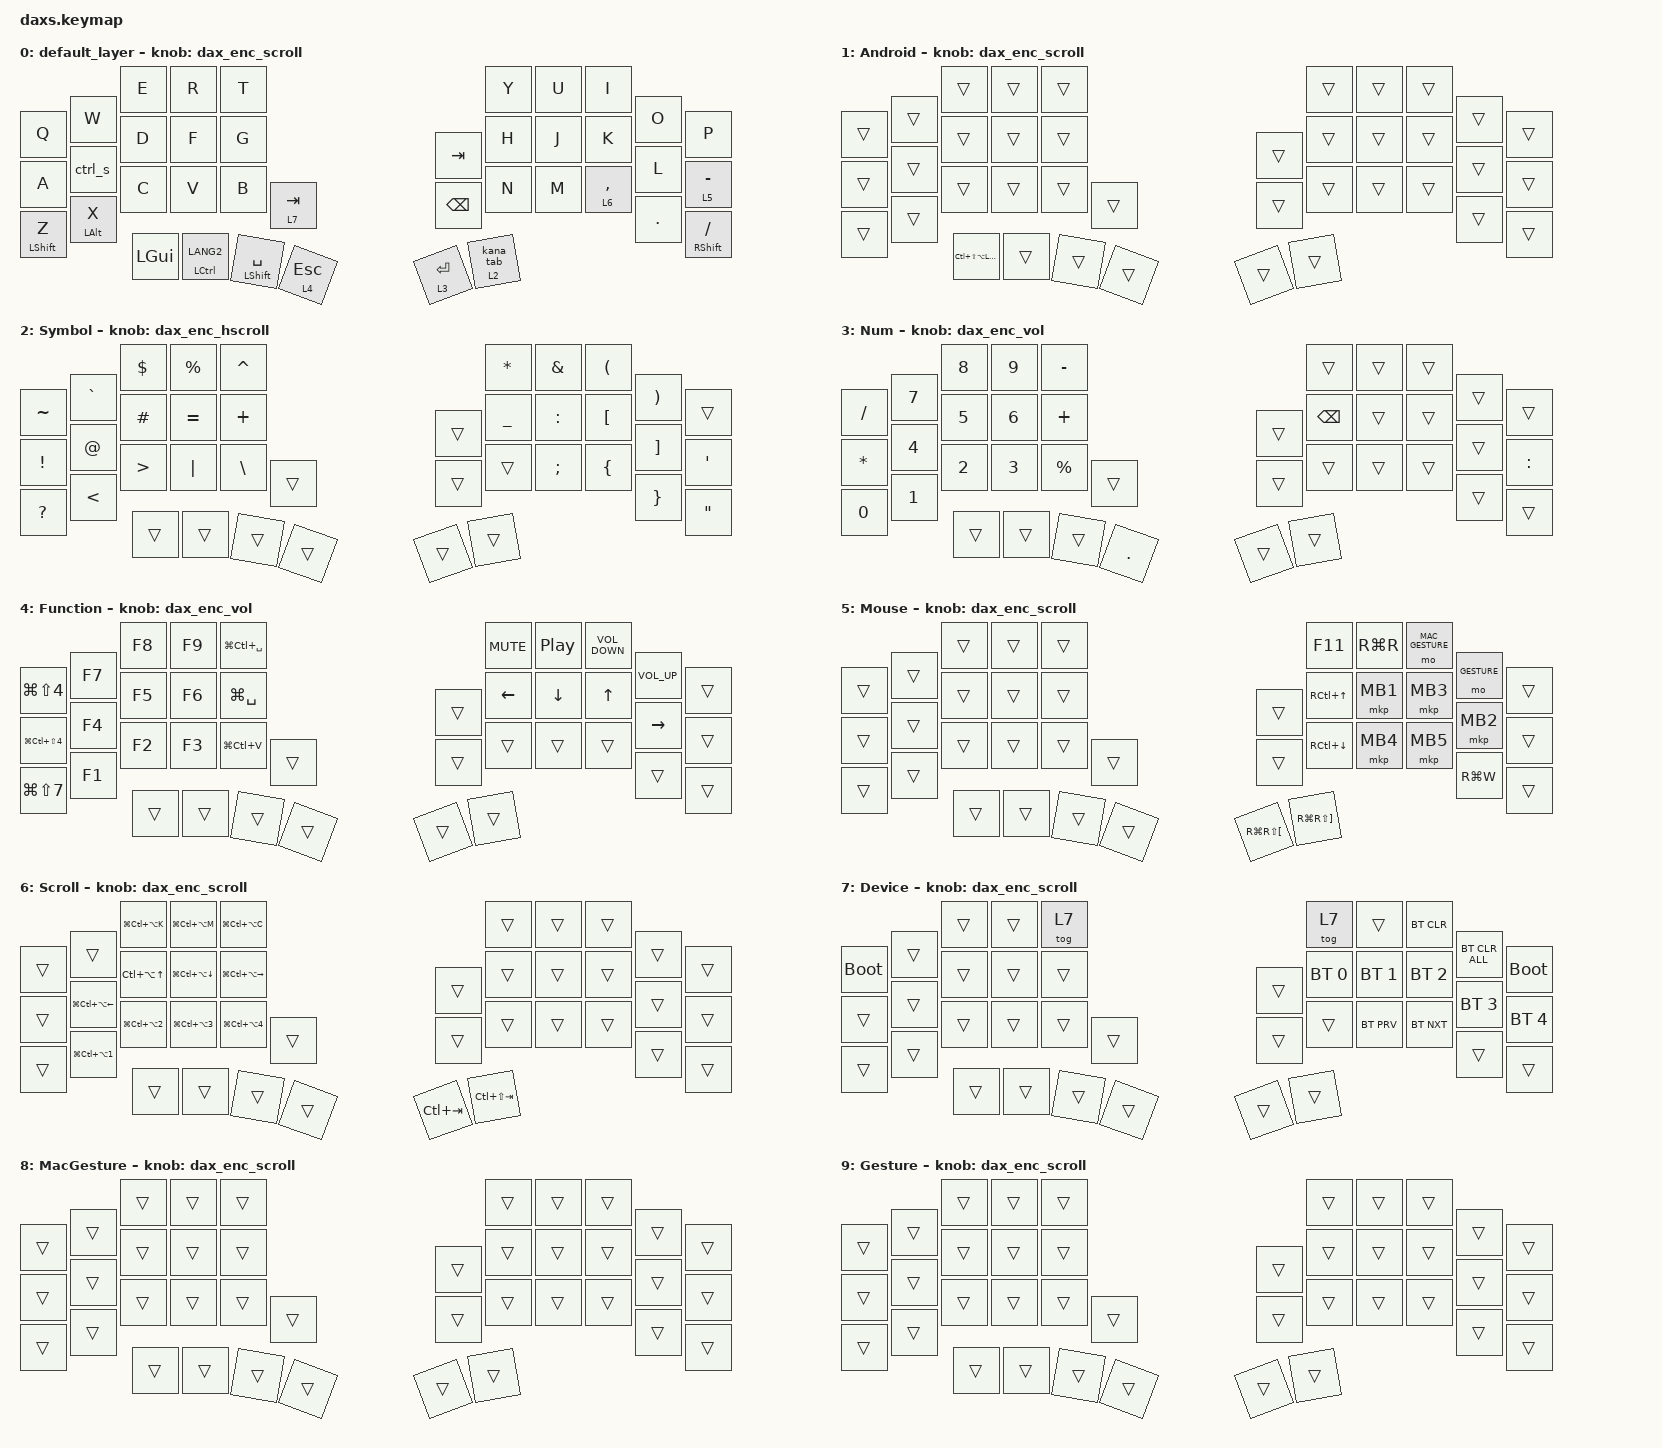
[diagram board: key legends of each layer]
#define ZMK_POINTING_DEFAULT_SCRL_VAL 120

#include <behaviors.dtsi>
#include <behaviors/dax_macro.dtsi>
#include <dt-bindings/zmk/bt.h>
#include <dt-bindings/zmk/input_transform.h>
#include <dt-bindings/zmk/keys.h>
#include <dt-bindings/zmk/pointing.h>
#include <input/processors.dtsi>
#include <dt-bindings/dax/gesture.h>

// Ctrl+Alt+Shift+Meta as a single modifier. The keycode itself is a modifier
// usage, so it lands in the HID modifier byte and a bare tap sends no character.
#define HYPER LC(LS(LA(LGUI)))

#define ANDROID 1
#define MOUSE 5
#define SCROLL 6
#define NUM 3
#define MAC_GESTURE 8
#define GESTURE 9

#include "gestures.dtsi"

// Encoder scroll reaches the host through &msc, which owns its own input-listener.
// The listener lives in behaviors.dtsi, which the shield overlay is parsed before,
// so the Android direction flip has to be declared here rather than in the overlay.
&msc_input_listener {
    android_encoder_override {
        layers = <ANDROID>;
        input-processors
            = <&zip_scroll_transform (INPUT_TRANSFORM_Y_INVERT)>
            , <&zip_scroll_scaler 3 5>
            ;
    };
};

&mt {
    quick-tap-ms = <0>;
    tapping-term-ms = <160>;
    flavor = "balanced";
};

&lt {
    flavor = "balanced";
    tapping-term-ms = <160>;
    quick-tap-ms = <0>;
};

// Key positions:
//
//    0  1  2  3  4              5  6  7  8  9
//   10 11 12 13 14         15  16 17 18 19 20
//   21 22 23 24 25  26     27  28 29 30 31 32
//         33 34 35 36      37 38
/ {
    // Compile-time defaults for the runtime combos (`dax_combo`). A slot edited or
    // deleted from a settings app keeps that stored value, and the layer filter
    // still looks at the highest active layer only, hence `<0 1>`.
    runtime_combo_defaults {
        compatible = "dax,runtime-combo-defaults";

        to_device {
            slot = <0>;
            bindings = <&mo 7>;
            key-positions = <0 25>;
            layers = <0 1>;
        };

        kl_scroll {
            slot = <1>;
            bindings = <&mo 6>;
            key-positions = <18 19>;
            layers = <0 1>;
        };

        to_device_left {
            slot = <2>;
            bindings = <&tog 7>;
            key-positions = <0 10 21>;
            layers = <0 1>;
        };

        to_device_right {
            slot = <3>;
            bindings = <&tog 7>;
            key-positions = <9 20 32>;
            layers = <0 1>;
        };

        tab {
            slot = <4>;
            bindings = <&kp TAB>;
            key-positions = <12 13>;
        };

        lclick {
            slot = <5>;
            bindings = <&mkp LCLK>;
            key-positions = <17 18>;
        };
    };

    // Compile-time defaults for the macros (`dax_macro`), each in a fixed slot. A slot
    // edited or deleted from a settings app keeps that stored value.
    // `esc_lang2_with_layer` passes the slot number of esc_lang2 as its tap parameter.
    runtime_macro_defaults {
        compatible = "dax,runtime-macro-defaults";

        esc_lang2 {
            slot = <0>;
            bindings = <&macro_tap>, <&kp ESCAPE &kp LANG2>;
            wait-ms = <15>;
        };

        // Press and release, not &macro_tap: a tap holds each key for the tap-ms
        // (30 by default) and the macro plays apart from the keys, so a key typed
        // right after Ctrl+S, the tmux command after the prefix, would reach the
        // host first. Press and release steps play with no wait.
        ctrl_s_lang2 {
            slot = <1>;
            bindings = <&macro_press &kp LANG2>, <&macro_release &kp LANG2>,
                       <&macro_press &kp LC(S)>, <&macro_release &kp LC(S)>;
        };
    };

    // The dax_enc_* behaviors (zmk-dax-modules' dax,behavior-encoder) are the
    // encoder's defaults. A settings app changes the binding of each layer and
    // direction at runtime, and a layer is editable there only when its
    // sensor-bindings name one of them. Every variant sets tap-ms to 20, including
    // the &kp one: &msc ticks every 16 ms, and an app may keep a layer's tap-ms
    // when it rebinds, so the binding default of 5 would leave a later &msc silent.
    behaviors {
        esc_lang2_with_layer: esc_lang2_with_layer {
            compatible = "zmk,behavior-hold-tap";
            display-name = "Layer-Macro";
            bindings = <&mo>, <&dax_macro>;
            #binding-cells = <2>;
            tapping-term-ms = <160>;
            flavor = "balanced";
        };

        // Kept apart from &mt: require-prior-idle-ms would turn the thumb
        // &mt LEFT_SHIFT SPACE into a space when pressed right after a letter.
        hrm: home_row_mod {
            compatible = "zmk,behavior-hold-tap";
            display-name = "Home Row Mod";
            bindings = <&kp>, <&kp>;
            #binding-cells = <2>;
            tapping-term-ms = <200>;
            quick-tap-ms = <175>;
            require-prior-idle-ms = <150>;
            // Not balanced: a roll like Z then I, with I released first, would
            // turn "zi" into "I". The right hand's I rules out positional holds.
            flavor = "tap-preferred";
        };

        // With Cmd held, the kana key becomes Tab, so holding Cmd and tapping it
        // walks the macOS app switcher. Cmd+kana does nothing on macOS.
        kana_tab: kana_tab {
            compatible = "zmk,behavior-mod-morph";
            display-name = "Kana / Tab";
            #binding-cells = <0>;
            bindings = <&kp LANG1>, <&kp TAB>;
            mods = <(MOD_LGUI|MOD_RGUI)>;
            keep-mods = <(MOD_LGUI|MOD_RGUI)>;
        };

        // With Ctrl held, S plays ctrl_s_lang2 (slot 1): 英数, then Ctrl+S, so a tmux
        // prefix of C-s leaves the IME off for the next key. Ctrl is masked so the
        // IME sees a bare 英数, and LC(S) carries its own Ctrl. Sending 英数 on every
        // Ctrl hold instead would commit a composition at Ctrl+K and the like.
        ctrl_s: ctrl_s {
            compatible = "zmk,behavior-mod-morph";
            display-name = "S / Lang2+Ctrl+S";
            #binding-cells = <0>;
            bindings = <&kp S>, <&dax_macro 1>;
            mods = <(MOD_LCTL|MOD_RCTL)>;
        };

        // The tap parameter is unused: kana_tab takes none.
        lt_kana_tab: lt_kana_tab {
            compatible = "zmk,behavior-hold-tap";
            display-name = "Layer-Kana";
            bindings = <&mo>, <&kana_tab>;
            #binding-cells = <2>;
            tapping-term-ms = <160>;
            quick-tap-ms = <0>;
            flavor = "balanced";
        };

        dax_enc_scroll: dax_enc_scroll {
            compatible = "dax,behavior-encoder";
            #sensor-binding-cells = <0>;
            tap-ms = <20>;
            cw-binding = <&msc SCRL_UP>;
            ccw-binding = <&msc SCRL_DOWN>;
        };

        dax_enc_hscroll: dax_enc_hscroll {
            compatible = "dax,behavior-encoder";
            #sensor-binding-cells = <0>;
            tap-ms = <20>;
            cw-binding = <&msc SCRL_RIGHT>;
            ccw-binding = <&msc SCRL_LEFT>;
        };

        dax_enc_vol: dax_enc_vol {
            compatible = "dax,behavior-encoder";
            #sensor-binding-cells = <0>;
            tap-ms = <20>;
            cw-binding = <&kp C_VOL_DN>;
            ccw-binding = <&kp C_VOL_UP>;
        };
    };

    keymap {
        compatible = "zmk,keymap";

        default_layer {
            bindings = <
&kp Q              &kp W            &kp E          &kp R         &kp T                                                                    &kp Y              &kp U   &kp I         &kp O     &kp P
&kp A              &ctrl_s          &kp D          &kp F         &kp G                                                    &kp TAB         &kp H              &kp J   &kp K         &kp L     &lt 5 MINUS
&hrm LEFT_SHIFT Z  &hrm LEFT_ALT X  &kp C          &kp V         &kp B                    &lt 7 TAB                       &kp BACKSPACE   &kp N              &kp M   &lt 6 COMMA   &kp DOT   &mt RIGHT_SHIFT SLASH
                                    &kp LEFT_GUI   &mt LEFT_CONTROL LANG2   &mt LEFT_SHIFT SPACE   &lt 4 ESCAPE           &lt 3 ENTER     &lt_kana_tab 2 0
            >;

            sensor-bindings = <&dax_enc_scroll>;
        };

        Android {
            bindings = <
&trans   &trans   &trans   &trans            &trans                                  &trans   &trans   &trans   &trans   &trans
&trans   &trans   &trans   &trans            &trans                         &trans   &trans   &trans   &trans   &trans   &trans
&trans   &trans   &trans   &trans            &trans   &trans                &trans   &trans   &trans   &trans   &trans   &trans
                  &kp HYPER   &trans         &trans   &trans                &trans   &trans
            >;

            sensor-bindings = <&dax_enc_scroll>;
        };

        Symbol {
            bindings = <
&kp TILDE         &kp GRAVE       &kp DOLLAR         &kp PERCENT   &kp CARET                                 &kp ASTERISK     &kp AMPERSAND   &kp LEFT_PARENTHESIS   &kp RIGHT_PARENTHESIS   &trans
&kp EXCLAMATION   &kp AT_SIGN     &kp HASH           &kp EQUAL     &kp PLUS                         &trans   &kp UNDERSCORE   &kp COLON       &kp LEFT_BRACKET       &kp RIGHT_BRACKET       &kp SINGLE_QUOTE
&kp QUESTION      &kp LESS_THAN   &kp GREATER_THAN   &kp PIPE      &kp BACKSLASH   &trans           &trans   &trans           &kp SEMICOLON   &kp LEFT_BRACE         &kp RIGHT_BRACE         &kp DOUBLE_QUOTES
                                  &trans             &trans        &trans          &trans           &trans   &trans
            >;

            sensor-bindings = <&dax_enc_hscroll>;
        };

        Num {
            bindings = <
&kp SLASH      &kp N7         &kp N8         &kp N9         &kp MINUS                                  &trans          &trans   &trans   &trans   &trans
&kp ASTERISK   &kp NUMBER_4   &kp N5         &kp NUMBER_6   &kp PLUS                          &trans   &kp BACKSPACE   &trans   &trans   &trans   &kp COLON
&kp N0         &kp NUMBER_1   &kp NUMBER_2   &kp NUMBER_3   &kp PERCENT   &trans              &trans   &trans          &trans   &trans   &trans   &trans
                              &trans         &trans         &trans        &kp PERIOD          &trans   &trans
            >;

            sensor-bindings = <&dax_enc_vol>;
        };

        Function {
            bindings = <
&kp LG(LS(NUMBER_4))       &kp F7   &kp F8   &kp F9   &kp LG(LC(SPACE))                             &kp C_MUTE   &kp C_PP   &kp C_VOLUME_DOWN   &kp C_VOLUME_UP   &trans
&kp LG(LC(LS(NUMBER_4)))   &kp F4   &kp F5   &kp F6   &kp LG(SPACE)                        &trans   &kp LEFT     &kp DOWN   &kp UP_ARROW        &kp RIGHT         &trans
&kp LG(LS(NUMBER_7))       &kp F1   &kp F2   &kp F3   &kp LG(LC(V))       &trans           &trans   &trans       &trans     &trans              &trans            &trans
                                    &trans   &trans   &trans              &trans           &trans   &trans
            >;

            sensor-bindings = <&dax_enc_vol>;
        };

        Mouse {
            bindings = <
&trans   &trans   &trans   &trans   &trans                                                 &kp F11                     &kp RG(R)   &mo MAC_GESTURE   &mo GESTURE   &trans
&trans   &trans   &trans   &trans   &trans                      &trans                     &kp RC(UP_ARROW)            &mkp MB1    &mkp MB3          &mkp MB2      &trans
&trans   &trans   &trans   &trans   &trans   &trans             &trans                     &kp RC(DOWN)                &mkp MB4    &mkp MB5          &kp RG(W)     &trans
                  &trans   &trans   &trans   &trans             &kp RG(RS(LEFT_BRACKET))   &kp RG(RS(RIGHT_BRACKET))
            >;

            sensor-bindings = <&dax_enc_scroll>;
        };

        Scroll {
            bindings = <
&trans   &trans                     &kp LG(LC(LA(K)))          &kp LG(LC(LA(M)))          &kp LG(LC(LA(C)))                                    &trans            &trans   &trans   &trans   &trans
&trans   &kp LG(LC(LA(LEFT)))       &kp LC(LA(UP_ARROW))       &kp LG(LC(LA(DOWN)))       &kp LG(LC(LA(RIGHT)))                  &trans        &trans            &trans   &trans   &trans   &trans
&trans   &kp LG(LC(LA(NUMBER_1)))   &kp LG(LC(LA(NUMBER_2)))   &kp LG(LC(LA(NUMBER_3)))   &kp LG(LC(LA(NUMBER_4)))   &trans      &trans        &trans            &trans   &trans   &trans   &trans
                                    &trans                     &trans                     &trans                     &trans      &kp LC(TAB)   &kp LC(LS(TAB))
            >;

            sensor-bindings = <&dax_enc_scroll>;
        };

        Device {
            bindings = <
&bootloader   &trans   &trans   &trans   &tog 7                             &tog 7         &trans         &bt BT_CLR     &bt BT_CLR_ALL   &bootloader
&trans        &trans   &trans   &trans   &trans                    &trans   &bt BT_SEL 0   &bt BT_SEL 1   &bt BT_SEL 2   &bt BT_SEL 3     &bt BT_SEL 4
&trans        &trans   &trans   &trans   &trans   &trans           &trans   &trans         &bt BT_PRV     &bt BT_NXT     &trans           &trans
                       &trans   &trans   &trans   &trans           &trans   &trans
            >;

            sensor-bindings = <&dax_enc_scroll>;
        };

        // MacGesture and Gesture are held from the Mouse layer. They change no key: they exist
        // so that the gesture processor has a layer to tell "gestures on" by (gestures.dtsi).
        MacGesture {
            bindings = <
&trans   &trans   &trans   &trans   &trans                         &trans   &trans   &trans   &trans   &trans
&trans   &trans   &trans   &trans   &trans                &trans   &trans   &trans   &trans   &trans   &trans
&trans   &trans   &trans   &trans   &trans   &trans       &trans   &trans   &trans   &trans   &trans   &trans
                  &trans   &trans   &trans   &trans       &trans   &trans
            >;

            sensor-bindings = <&dax_enc_scroll>;
        };

        Gesture {
            bindings = <
&trans   &trans   &trans   &trans   &trans                         &trans   &trans   &trans   &trans   &trans
&trans   &trans   &trans   &trans   &trans                &trans   &trans   &trans   &trans   &trans   &trans
&trans   &trans   &trans   &trans   &trans   &trans       &trans   &trans   &trans   &trans   &trans   &trans
                  &trans   &trans   &trans   &trans       &trans   &trans
            >;

            sensor-bindings = <&dax_enc_scroll>;
        };
    };
};
